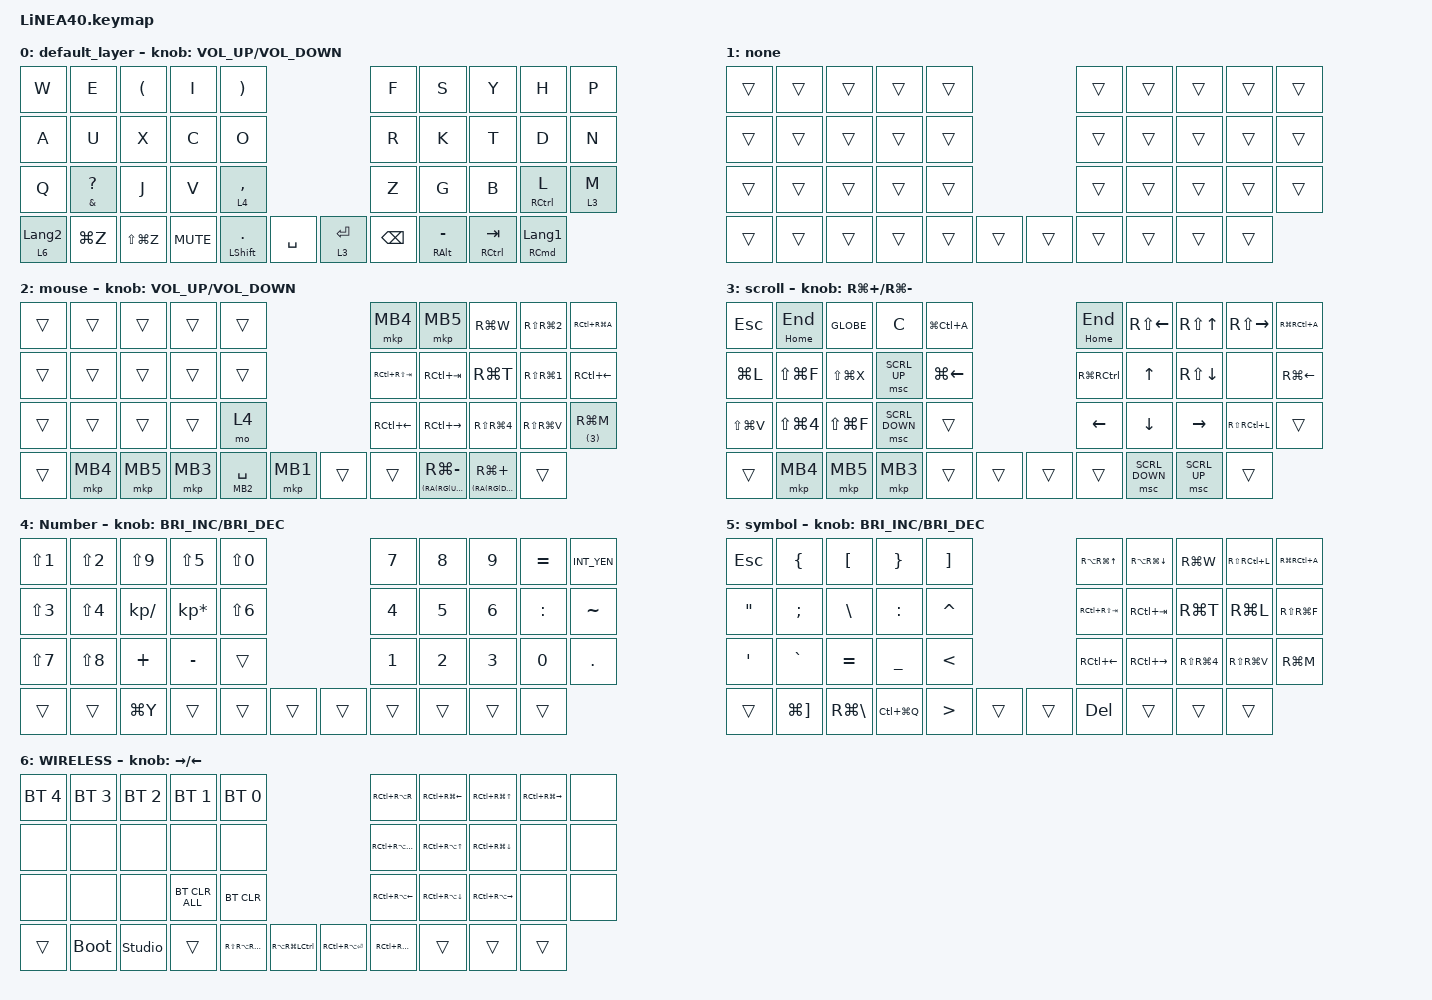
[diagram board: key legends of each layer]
#define ZMK_POINTING_DEFAULT_SCRL_VAL 150

#include <dt-bindings/zmk/input_transform.h>
#include <input/processors.dtsi>
#include <zephyr/dt-bindings/input/input-event-codes.h>
#include <behaviors.dtsi>
#include <dt-bindings/zmk/bt.h>
#include <dt-bindings/zmk/keys.h>
#include <dt-bindings/zmk/pointing.h>

#define MOUSE 1
#define SCROLL 2
#define WIRELESS 5

//mouse cursol

&mmv {
    delay-ms = <20>;
    trigger-period-ms = <5>;
    time-to-max-speed-ms = <100>;
    acceleration-exponent = <2>;
};

//mouse scroll

&msc {
    delay-ms = <3>;
    trigger-period-ms = <3>;
    time-to-max-speed-ms = <100>;
    acceleration-exponent = <0>;
};

/ {
    input_processors {
        zip_wheel_scaler: zip_wheel_scaler {
            compatible = "zmk,input-processor-scaler";
            #input-processor-cells = <2>;
            type = <INPUT_EV_REL>;
            codes = <INPUT_REL_WHEEL>;
            track-remainders;
        };
    };
};

&trackball_listener {
    scroller {
        layers = <3>;
        input-processors =
            <&zip_xy_transform INPUT_TRANSFORM_Y_INVERT>,
            <&zip_xy_to_scroll_mapper>,
            <&zip_wheel_scaler 1 16>;
    };
};

/ {
    combos {
        compatible = "zmk,combos";

        Reset-Layer {
            bindings = <&to 0>;
            key-positions = <5 6>;
        };

        mouse-Layer1 {
            bindings = <&tog 2>;
            key-positions = <15 16>;
        };

        scoll3 {
            bindings = <&tog 3>;
            key-positions = <25 26>;
        };

        Number4 {
            bindings = <&tog 4>;
            key-positions = <6 7>;
        };

        Symbol {
            bindings = <&tog 5>;
            key-positions = <16 17>;
        };

        BluetoothOther {
            bindings = <&tog 6>;
            key-positions = <26 27>;
        };

        Reload {
            bindings = <&kp RG(R)>;
            key-positions = <37 36>;
        };

        Delete {
            bindings = <&kp DELETE>;
            key-positions = <37 25>;
        };

        BackSpace {
            bindings = <&kp BACKSPACE>;
            key-positions = <37 15>;
        };

        mousebuttom1 {
            bindings = <&mkp MB1>;
            key-positions = <17 18>;
        };

        mousebuttom2 {
            bindings = <&mkp MB2>;
            key-positions = <18 19>;
        };

        mousebuttom3 {
            bindings = <&mkp MB3>;
            key-positions = <17 19>;
        };

        mouse-Layer2 {
            bindings = <&mo 2>;
            key-positions = <34 24>;
        };
    };

    behaviors {
        re_kp: sensor_rotate_kp {
            compatible = "zmk,behavior-sensor-rotate-var";
            #sensor-binding-cells = <2>;
            bindings = <&kp>, <&kp>;
        };

        mouse_scrl: mouse_wheel_scrl {
            compatible = "zmk,behavior-sensor-rotate-var";
            #sensor-binding-cells = <2>;
            bindings = <&msc>, <&msc>;

            tap-ms = <20>;
        };

        new_behavior: new_behavior {
            compatible = "zmk,behavior-sensor-rotate-var";
            #sensor-binding-cells = <2>;
            bindings = <&msc>, <&msc>;

            tap-ms = <20>;
            label = "NEW_BEHAVIOR";
        };

        mousekp_kp: mousekp_kp {
            compatible = "zmk,behavior-hold-tap";
            label = "MOUSEKP_KP";
            bindings = <&mkp>, <&kp>;

            #binding-cells = <2>;
            tapping-term-ms = <180>;
            hold-trigger-key-positions = <34>;
        };
    };

    keymap {
        compatible = "zmk,keymap";

        default_layer {
            bindings = <
&kp W             &kp E                   &kp LEFT_PARENTHESIS  &kp I       &kp RIGHT_PARENTHESIS                            &kp F          &kp S  &kp Y                &kp H                  &kp P
&kp A             &kp U                   &kp X                 &kp C       &kp O                                            &kp R          &kp K  &kp T                &kp D                  &kp N
&kp Q             &mt AMPERSAND QUESTION  &kp J                 &kp V       &lt 4 COMMA                                      &kp Z          &kp G  &kp B                &mt RIGHT_CONTROL L    &lt 3 M
&lt 6 LANGUAGE_2  &kp LG(Z)               &kp LS(LG(Z))         &kp C_MUTE  &mt LEFT_SHIFT PERIOD  &kp SPACE    &lt 3 ENTER  &kp BACKSPACE         &mt RIGHT_ALT MINUS  &mt RIGHT_CONTROL TAB  &mt RIGHT_COMMAND LANGUAGE_1
            >;

            sensor-bindings = <&inc_dec_kp C_VOLUME_UP C_VOLUME_DOWN>;
        };

        none {
            bindings = <
&trans  &trans  &trans  &trans  &trans                    &trans  &trans  &trans  &trans  &trans
&trans  &trans  &trans  &trans  &trans                    &trans  &trans  &trans  &trans  &trans
&trans  &trans  &trans  &trans  &trans                    &trans  &trans  &trans  &trans  &trans
&trans  &trans  &trans  &trans  &trans  &trans    &trans  &trans          &trans  &trans  &trans
            >;
        };

        mouse {
            bindings = <
&trans  &trans    &trans    &trans    &trans                                     &mkp MB4         &mkp MB5       &kp RG(W)                   &kp RS(RG(NUMBER_2))         &kp RC(RG(A))
&trans  &trans    &trans    &trans    &trans                                     &kp RC(RS(TAB))  &kp RC(TAB)    &kp RG(T)                   &kp RS(RG(NUMBER_1))         &kp RC(LEFT)
&trans  &trans    &trans    &trans    &mo 4                                      &kp RC(LEFT)     &kp RC(RIGHT)  &kp RS(RG(NUMBER_4))        &kp RS(RG(V))                &lt (3) RG(M)
&trans  &mkp MB4  &mkp MB5  &mkp MB3  &mousekp_kp MB2 SPACE  &mkp MB1    &trans  &trans                          &mt (RA(RG(UP))) RG(MINUS)  &mt (RA(RG(DOWN))) RG(PLUS)  &trans
            >;

            sensor-bindings = <&inc_dec_kp C_VOLUME_UP C_VOLUME_DOWN>;
        };

        scroll {
            bindings = <
&kp ESCAPE     &mt HOME END          &kp GLOBE      &kp C           &kp LG(LC(A))                    &mt HOME END           &kp RS(LEFT)  &kp RS(UP)      &kp RS(RIGHT)  &kp RG(RC(A))
&kp LG(L)      &kp LS(LG(F))         &kp LS(LG(X))  &msc SCRL_UP    &kp LG(LEFT)                     &kp RG(RIGHT_CONTROL)  &kp UP        &kp RS(DOWN)    &none          &kp RG(LEFT)
&kp LS(LG(V))  &kp LS(LG(NUMBER_4))  &kp LS(LG(F))  &msc SCRL_DOWN  &trans                           &kp LEFT               &kp DOWN      &kp RIGHT       &kp RS(RC(L))  &trans
&trans         &mkp MB4              &mkp MB5       &mkp MB3        &trans         &trans    &trans  &trans                               &msc SCRL_DOWN  &msc SCRL_UP   &trans
            >;

            sensor-bindings = <&re_kp RG(PLUS) RG(MINUS)>;
        };

        Number {
            bindings = <
&kp LS(NUMBER_1)  &kp LS(NUMBER_2)  &kp LS(N9)     &kp LS(NUMBER_5)  &kp LS(NUMBER_0)                    &kp NUMBER_7  &kp NUMBER_8  &kp NUMBER_9  &kp EQUAL  &kp INT_YEN
&kp LS(NUMBER_3)  &kp LS(NUMBER_4)  &kp KP_DIVIDE  &kp KP_ASTERISK   &kp LS(NUMBER_6)                    &kp NUMBER_4  &kp NUMBER_5  &kp NUMBER_6  &kp COLON  &kp TILDE
&kp LS(NUMBER_7)  &kp LS(NUMBER_8)  &kp PLUS       &kp MINUS         &trans                              &kp NUMBER_1  &kp NUMBER_2  &kp NUMBER_3  &kp N0     &kp PERIOD
&trans            &trans            &kp LG(Y)      &trans            &trans            &trans    &trans  &trans                      &trans        &trans     &trans
            >;

            sensor-bindings = <&inc_dec_kp C_BRIGHTNESS_INC C_BRIGHTNESS_DEC>;
        };

        symbol {
            bindings = <
&kp ESCAPE         &kp LEFT_BRACE         &kp LEFT_BRACKET   &kp RIGHT_BRACE  &kp RIGHT_BRACKET                    &kp RA(RG(UP_ARROW))  &kp RA(RG(DOWN_ARROW))  &kp RG(W)             &kp RS(RC(L))  &kp RG(RC(A))
&kp DOUBLE_QUOTES  &kp SEMICOLON          &kp BACKSLASH      &kp COLON        &kp CARET                            &kp RC(RS(TAB))       &kp RC(TAB)             &kp RG(T)             &kp RG(L)      &kp RS(RG(F))
&kp SQT            &kp GRAVE              &kp EQUAL          &kp UNDERSCORE   &kp LESS_THAN                        &kp RC(LEFT)          &kp RC(RIGHT)           &kp RS(RG(NUMBER_4))  &kp RS(RG(V))  &kp RG(M)
&trans             &kp LG(RIGHT_BRACKET)  &kp RG(BACKSLASH)  &kp LC(LG(Q))    &kp GREATER_THAN   &trans    &trans  &kp DELETE                                    &trans                &trans         &trans
            >;

            sensor-bindings = <&inc_dec_kp C_BRIGHTNESS_INC C_BRIGHTNESS_DEC>;
        };

        WIRELESS {
            bindings = <
&bt BT_SEL 4  &bt BT_SEL 3  &bt BT_SEL 2    &bt BT_SEL 1    &bt BT_SEL 0                                                                 &kp RC(RA(R))          &kp RC(RG(LEFT))  &kp RC(RG(UP))     &kp RC(RG(RIGHT))  &none
&none         &none         &none           &none           &none                                                                        &kp RC(RA(RS(UP)))     &kp RC(RA(UP))    &kp RC(RG(DOWN))   &none              &none
&none         &none         &none           &bt BT_CLR_ALL  &bt BT_CLR                                                                   &kp RC(RA(LEFT))       &kp RC(RA(DOWN))  &kp RC(RA(RIGHT))  &none              &none
&trans        &bootloader   &studio_unlock  &trans          &kp RS(RA(RG(LEFT_CONTROL)))  &kp RA(RG(LEFT_CONTROL))    &kp RC(RA(ENTER))  &kp RC(RA(BACKSPACE))                    &trans             &trans             &trans
            >;

            sensor-bindings = <&inc_dec_kp RIGHT_ARROW LEFT_ARROW>;
        };
    };
};
